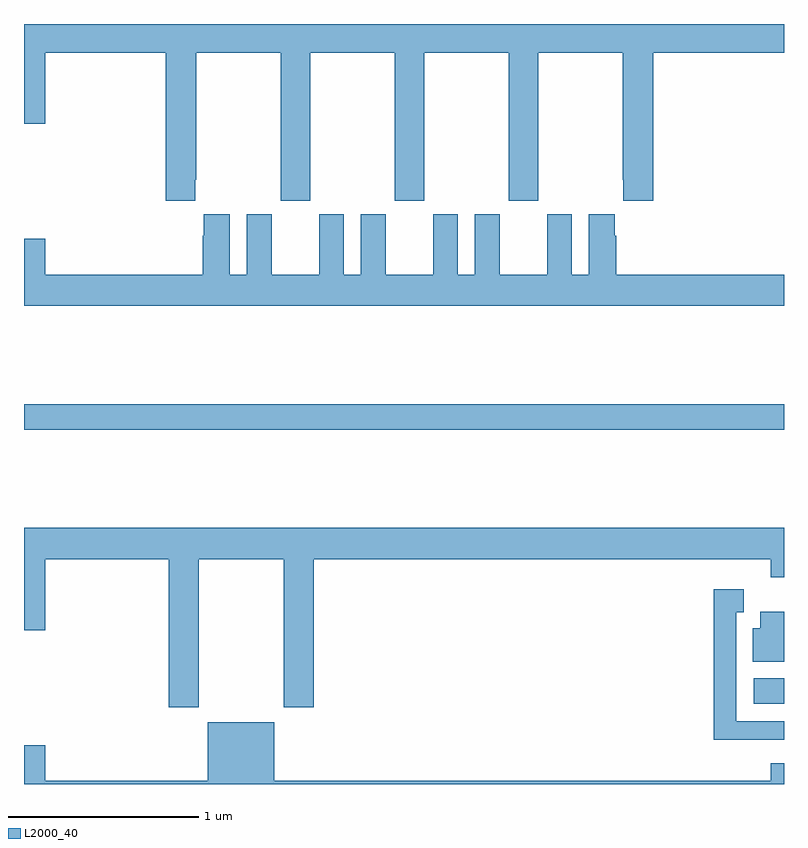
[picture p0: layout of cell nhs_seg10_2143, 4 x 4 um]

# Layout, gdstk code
import gdstk
lib = gdstk.Library(unit=1e-6, precision=1e-09)
def R(c, l, rs):  # rectangles x0, y0, x1, y1
    for r in rs: c.add(gdstk.rectangle(r[:2], r[2:], *l))
def P(c, l, *ps):  # polygons
    for p in ps: c.add(gdstk.Polygon(p, *l))
L2000_40 = (2000, 40)

nhs_seg10_2143 = lib.new_cell('nhs_seg10_2143')
R(nhs_seg10_2143, L2000_40, [(228.84,1264.922,229,1265.056), (225,1266.364,229,1266.5)])
P(nhs_seg10_2143, L2000_40, [(225.901,1267.681),(225.906,1267.681),(225.906,1268.348),(226.351,1268.348),(226.351,1267.569),(226.506,1267.569),(226.506,1268.348),(226.951,1268.348),(226.951,1267.569),(227.106,1267.569),(227.106,1268.348),(227.551,1268.348),(227.551,1267.569),(227.706,1267.569),(227.706,1268.348),(228.151,1268.348),(228.151,1267.681),(228.155,1267.681),(228.155,1267.569),(228.311,1267.569),(228.311,1268.348),(229,1268.348),(229,1268.5),(225,1268.5),(225,1267.974),(225.112,1267.974),(225.112,1268.348),(225.746,1268.348),(225.746,1267.569),(225.901,1267.569)],
  [(229,1267.18),(228.116,1267.18),(228.116,1267.385),(228.109,1267.385),(228.109,1267.498),(227.972,1267.498),(227.972,1267.18),(227.884,1267.18),(227.884,1267.498),(227.753,1267.498),(227.753,1267.18),(227.503,1267.18),(227.503,1267.498),(227.372,1267.498),(227.372,1267.18),(227.284,1267.18),(227.284,1267.498),(227.153,1267.498),(227.153,1267.18),(226.903,1267.18),(226.903,1267.498),(226.772,1267.498),(226.772,1267.18),(226.684,1267.18),(226.684,1267.498),(226.553,1267.498),(226.553,1267.18),(226.303,1267.18),(226.303,1267.498),(226.172,1267.498),(226.172,1267.18),(226.084,1267.18),(226.084,1267.498),(225.947,1267.498),(225.947,1267.385),(225.941,1267.385),(225.941,1267.18),(225.112,1267.18),(225.112,1267.369),(225,1267.369),(225,1267.016),(229,1267.016)],
  [(225.921,1265.684),(226.366,1265.684),(226.366,1264.905),(226.526,1264.905),(226.526,1265.684),(228.929,1265.684),(228.929,1265.589),(229,1265.589),(229,1265.848),(225,1265.848),(225,1265.31),(225.112,1265.31),(225.112,1265.684),(225.761,1265.684),(225.761,1264.905),(225.921,1264.905)],
  [(228.87,1264.734),(229,1264.734),(229,1264.83),(228.748,1264.83),(228.748,1265.403),(228.787,1265.403),(228.787,1265.524),(228.63,1265.524),(228.63,1264.733),(228.87,1264.733)],
  [(229,1265.407),(228.875,1265.407),(228.875,1265.32),(228.836,1265.32),(228.836,1265.144),(229,1265.144)],
  [(229,1264.609),(228.929,1264.609),(228.929,1264.516),(226.318,1264.516),(226.318,1264.825),(225.968,1264.825),(225.968,1264.516),(225.112,1264.516),(225.112,1264.705),(225,1264.705),(225,1264.5),(229,1264.5)])

lib.write_gds('nhs_seg10_2143.gds')
